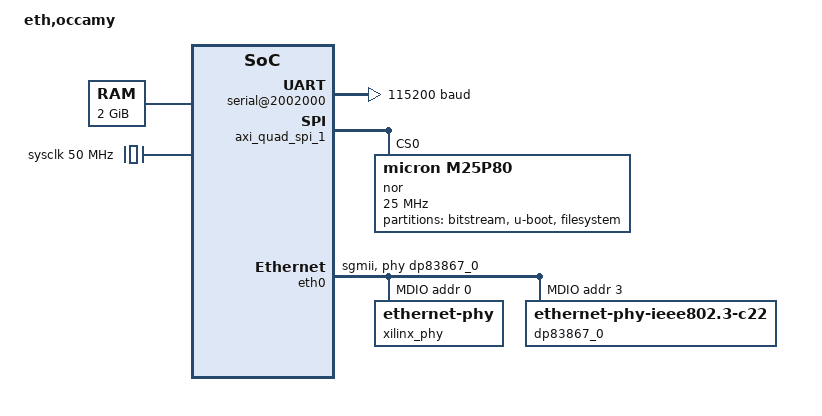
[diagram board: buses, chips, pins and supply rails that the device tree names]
// Copyright 2021 ETH Zurich and University of Bologna.
// Licensed under the Apache License, Version 2.0, see LICENSE for details.
// SPDX-License-Identifier: Apache-2.0

// TODO(niwis) auto generate
/dts-v1/;
/ {
  #address-cells = <2>;
  #size-cells = <2>;
  compatible = "eth,occamy-dev";
  model = "eth,occamy";
  config {
    u-boot,spl-payload-offset = <0x6000000>;
  };
  chosen {
    stdout-path = "/soc/serial@2002000:115200";
  };
  memory@80000000 {
    device_type = "memory";
    reg = <0x0 0x80000000 0x0 0x80000000>;
  };
  cpus {
    #address-cells = <1>;
    #size-cells = <0>;
    timebase-frequency = <12500000>;
    CPU0: cpu@0 {
      device_type = "cpu";
      status = "okay";
      compatible = "eth,ariane", "riscv";
      clock-frequency = <50000000>;
      riscv,isa = "rv64fimafd";
      mmu-type = "riscv,sv39";
      tlb-split;
      reg = <0>;
      // represents the destination of the mcause bits
      // ariane has 3 interrupt inputs:
      // - software (ipi_i[0], IRQ_M_SOFT)
      // - timer (time_irq_i[0], IRQ_M_TIMER)
      // - external (irq_i[1:0], {IRQ_S_EXT, IRQ_M_EXT})
      CPU0_intc: interrupt-controller {
        #interrupt-cells = <1>;
        #address-cells = <1>;
        interrupt-controller;
        compatible = "riscv,cpu-intc";
      };
    };
  };
  sysclk: virt_50mhz {
    #clock-cells = <0>;
    compatible = "fixed-clock";
    clock-frequency = <50000000>;
  };
  soc: soc {
    #address-cells = <2>;
    #size-cells = <2>;
    compatible = "simple-bus";
    ranges;
    debug@0 {
      compatible = "riscv,debug-013";
      interrupts-extended = <&CPU0_intc 65535>;
      reg-names = "control";
      reg = <0x0 0x0 0x0 0x1000>;
    };
    serial@2002000 {
      compatible = "ns16550a";
      reg = <0x0 0x2002000 0x0 0x1000>;
      clock-frequency = <50000000>;
      current-speed = <115200>;
      interrupt-parent = <&PLIC0>;
      interrupts = <33>;
      reg-offset = <0>;
      reg-shift = <2>; // regs are spaced on 32 bit boundary
      reg-io-width = <4>; // only 32-bit access are supported
      // fifo-size = <64>;
    };
    timer@2006000 {
      compatible = "pulp,apb_timer";
      interrupt-parent = <&PLIC0>;
      interrupts = <66 67 68 69>;
      reg = <0x00000000 0x2006000 0x00000000 0x00001000>;
      reg-names = "control";
    };
    axi_quad_spi_1: spi@4c000000 {
      compatible = "xlnx,axi-quad-spi-3.2", "xlnx,xps-spi-2.00.a";
      interrupts-extended = <&PLIC0 2>;
      clocks = <&sysclk>;
      reg = <0x0 0x4c000000 0x0 0x10000>;
      xlnx,num-ss-bits = <1>;
      xlnx,num-transfer-bits = <0x8>;
      fifo-size = <16>;
      #address-cells = <1>;
      #size-cells = <0>;
      nor@0 {
        #address-cells = <0x1>;
        #size-cells = <0x1>;
        compatible = "micron,m25p80";
        reg = <0x0 0x0>;
        spi-max-frequency = <25000000>;
        spi-rx-bus-width = <0x4>;
        spi-tx-bus-width = <0x4>;
        m25p,fast-read;
        partition@0 {
          label = "bitstream";
          reg = <0x0 0x6000000>; // 96 MB
          read-only;
        };
        partition@6000000 {
          label = "u-boot";
          reg = <0x6000000 0x100000>; // 1 MB
          read-only;
        };
        uimage@6100000 {
          label = "uimage";
          reg = <0x6100000 0x1000000>; // 16 MB
          read-only;
        };
        partition@7100000 {
          label = "filesystem";
          reg = <0x7100000 0x8f00000>; // 143 MB
        };
      };
    };
    clint0: clint@4000000 {
      clock-frequency = <12500000>;
      compatible = "riscv,clint0";
      // clint generates software and timer interrupts to the core. Attach them
      // to the CPU
      // bits in mip and exception code in mcause:
      // - IRQ_M_SOFT = 3: Machine software interrupt
      // - IRQ_M_TIMER = 7: Machine timer interrupt
      interrupts-extended = <&CPU0_intc 3 &CPU0_intc 7>;
      reg-names = "clint";
      reg = <0x0 0x4000000 0x0 0x100000>;
    };
    PLIC0: interrupt-controller@c000000 {
      compatible = "riscv,plic0";
      #address-cells = <0>;
      #interrupt-cells = <1>;
      interrupt-controller;
      // PLIC generates external interrupts to the core, M and S mode
      // - IRQ_M_EXT = 11: Machine external interrupt
      // - IRQ_S_EXT = 9:  Supervisor external interrupt
      interrupts-extended = <&CPU0_intc 11 &CPU0_intc 9>;
      riscv,max-priority = <6>;
      riscv,ndev = <70>;
      reg = <0x0 0xc000000 0x0 0x4000000>;
    };
    eth_dma0: eth_dma@4d000000 {
      #dma-cells = <1>;
      #address-cells = <1>;
      #size-cells = <1>;
      compatible = "xlnx,axi-dma-1.00.a";
      reg = <0x0 0x4d000000 0x0 0x10000>;
      interrupts-extended = <&PLIC0 3 &PLIC0 4>;
      xlnx,addrwidth = <0x40>;
      xlnx,include-sg;
      dma-channel@4d000000 {
        compatible = "xlnx,axi-dma-mm2s-channel";
        reg = <0 0>;
        dma-channels = <0x1>;
        interrupts-extended = <&PLIC0 3>;
        xlnx,datawidth = <0x20>;
        xlnx,device-id = <0x0>;
        xlnx,include-dre ;
      };
      dma-channel@4d000030 {
        compatible = "xlnx,axi-dma-s2mm-channel";
        reg = <0 0>;
        dma-channels = <0x1>;
        interrupts-extended = <&PLIC0 4>;
        xlnx,datawidth = <0x20>;
        xlnx,device-id = <0x0>;
        xlnx,include-dre ;
      };
    };
    eth0: eth0@4c400000 {
      compatible = "xlnx,axi-ethernet-1.00.a";
      reg = <0x0 0x4c400000 0x0 0x40000>;
      // attacked to system clock, provide name for matching
      clocks = <&sysclk>, <&sysclk>;
      clock-names = "s_axi_lite_clk", "axis_clk";
      // interrupt and mac_irq
      interrupts-extended = <&PLIC0 1 &PLIC0 6>;
      // local-mac-address = [ 00 0A 35 04 E1 60 ]; // hero-vcu128-01
      local-mac-address = [ 00 0A 35 04 E1 52 ]; // hero-vcu128-02
      mac-address = [ 00 0A 35 04 E1 52 ];
      device_type = "network";
      axistream-connected = <&eth_dma0>;
      axistream-control-connected = <&eth_dma0>;
      phy-handle = <&dp83867_0>;
      // xlnx,phy-type = <0x4>; // XAE_PHY_TYPE_SGMII. linux: deprecated, use phy-mode
      phy-mode = "sgmii";
      xlnx,phyaddr = <0x0>;
      xlnx,rxcsum = <0x2>; // 0, 1, 2 for no/partial/full offloading
      xlnx,rxmem = <0x1000>;
      xlnx,txcsum = <0x2>; // 0, 1, 2 for no/partial/full offloading
      xlnx,txmem = <0x1000>;

      mdio: mdio {
        #address-cells = <1>;
        #size-cells = <0>;
        // reset-gpios = <&tca6416a 6 GPIO_ACTIVE_LOW>;
        // reset-delay-us = <2>;
        // PCS/PMA PHY
        xilinx_phy: ethernet-phy@0 {
          #phy-cells = <1>;
          device_type = "ethernet-phy";
          reg = <0>;
        };
        // External PHY
        dp83867_0: ethernet-phy@3 {
          compatible = "ethernet-phy-ieee802.3-c22";
          reg = <3>;
          #phy-cells = <1>;
          device_type = "ethernet-phy";
          ti,sgmii-ref-clock-output-enable;
          ti,dp83867-rxctrl-strap-quirk;
        };
      };
    };
  };
};
